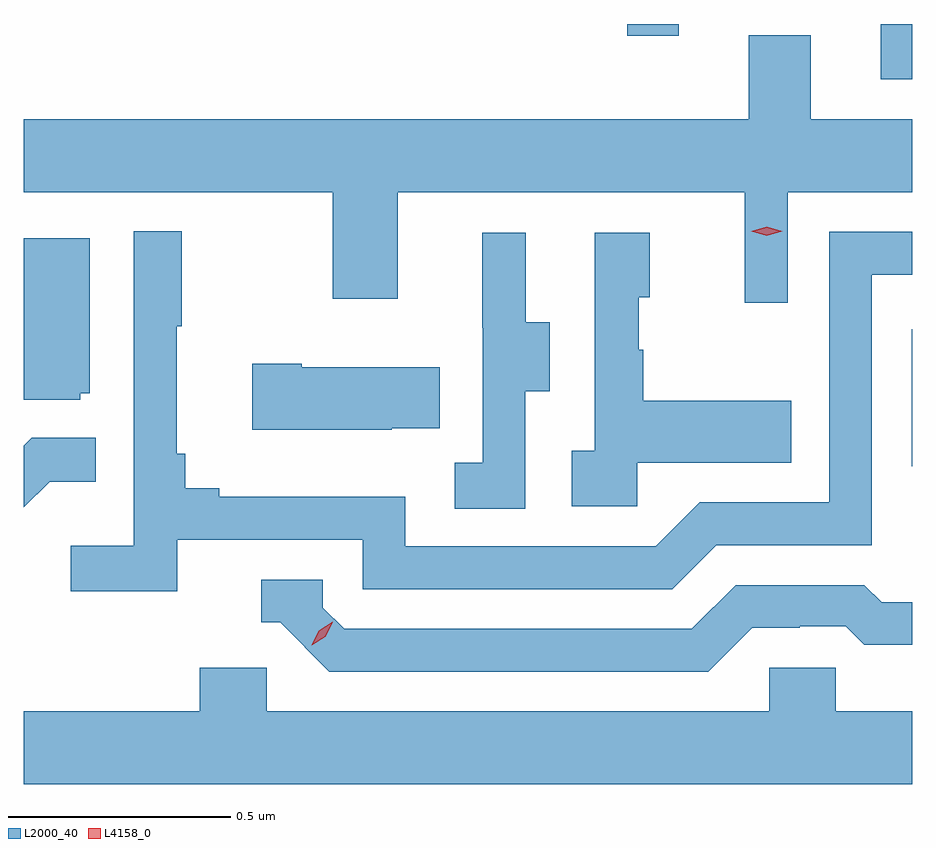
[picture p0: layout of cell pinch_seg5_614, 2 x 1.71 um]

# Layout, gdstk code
import gdstk
lib = gdstk.Library(unit=1e-6, precision=1e-09)
def R(c, l, rs):  # rectangles x0, y0, x1, y1
    for r in rs: c.add(gdstk.rectangle(r[:2], r[2:], *l))
def P(c, l, *ps):  # polygons
    for p in ps: c.add(gdstk.Polygon(p, *l))
L2000_40 = (2000, 40)
L4158_0 = (4158, 0)

pinch_seg5_614 = lib.new_cell('pinch_seg5_614')
R(pinch_seg5_614, L2000_40, [(1047.804,856.143,1047.805,856.452), (1047.734,857.015,1047.805,857.139), (1047.163,857.112,1047.28,857.139)])
P(pinch_seg5_614, L2000_40, [(1047.525,856.76),(1047.805,856.76),(1047.805,856.924),(1047.577,856.924),(1047.577,857.114),(1047.437,857.114),(1047.437,856.924),(1045.805,856.924),(1045.805,856.76),(1046.5,856.76),(1046.5,856.521),(1046.647,856.521),(1046.647,856.76),(1047.428,856.76),(1047.428,856.512),(1047.525,856.512)],
  [(1046.15,855.978),(1046.568,855.978),(1046.568,855.867),(1047.265,855.867),(1047.364,855.966),(1047.714,855.966),(1047.714,856.575),(1047.805,856.575),(1047.805,856.671),(1047.618,856.671),(1047.618,856.062),(1047.327,856.062),(1047.228,855.963),(1046.664,855.963),(1046.664,856.075),(1046.245,856.075),(1046.245,856.094),(1046.168,856.094),(1046.168,856.171),(1046.149,856.171),(1046.149,856.459),(1046.161,856.459),(1046.161,856.672),(1046.052,856.672),(1046.052,855.964),(1045.911,855.964),(1045.911,855.862),(1046.15,855.862)],
  [(1046.934,856.312),(1046.989,856.312),(1046.989,856.467),(1046.935,856.467),(1046.935,856.669),(1046.837,856.669),(1046.837,856.455),(1046.838,856.455),(1046.838,856.151),(1046.775,856.151),(1046.775,856.048),(1046.934,856.048)],
  [(1047.186,856.151),(1047.533,856.151),(1047.533,856.291),(1047.199,856.291),(1047.199,856.406),(1047.189,856.406),(1047.189,856.524),(1047.214,856.524),(1047.214,856.669),(1047.09,856.669),(1047.09,856.178),(1047.039,856.178),(1047.039,856.053),(1047.186,856.053)],
  [(1045.932,856.308),(1045.954,856.308),(1045.954,856.657),(1045.805,856.657),(1045.805,856.293),(1045.932,856.293)],
  [(1046.633,856.229),(1046.741,856.229),(1046.741,856.366),(1046.431,856.366),(1046.431,856.374),(1046.319,856.374),(1046.319,856.226),(1046.633,856.226)],
  [(1045.863,856.109),(1045.967,856.109),(1045.967,856.208),(1045.823,856.208),(1045.805,856.19),(1045.805,856.051)],
  [(1047.445,855.78),(1047.552,855.78),(1047.552,855.783),(1047.655,855.783),(1047.697,855.741),(1047.805,855.741),(1047.805,855.837),(1047.736,855.837),(1047.697,855.876),(1047.408,855.876),(1047.309,855.777),(1046.526,855.777),(1046.478,855.825),(1046.478,855.888),(1046.339,855.888),(1046.339,855.792),(1046.382,855.792),(1046.493,855.681),(1047.346,855.681)],
  [(1047.805,855.592),(1047.633,855.592),(1047.633,855.69),(1047.483,855.69),(1047.483,855.592),(1046.352,855.592),(1046.352,855.69),(1046.201,855.69),(1046.201,855.592),(1045.805,855.592),(1045.805,855.428),(1047.805,855.428)])
P(pinch_seg5_614, L4158_0, [(1046.453,855.74),(1046.453,855.741),(1046.469,855.773),(1046.5,855.793),(1046.5,855.793),(1046.5,855.792),(1046.484,855.76),(1046.453,855.74)],
  [(1047.478,856.662),(1047.443,856.672),(1047.443,856.672),(1047.443,856.672),(1047.478,856.682),(1047.513,856.672),(1047.513,856.672),(1047.513,856.672)])

lib.write_gds('pinch_seg5_614.gds')
